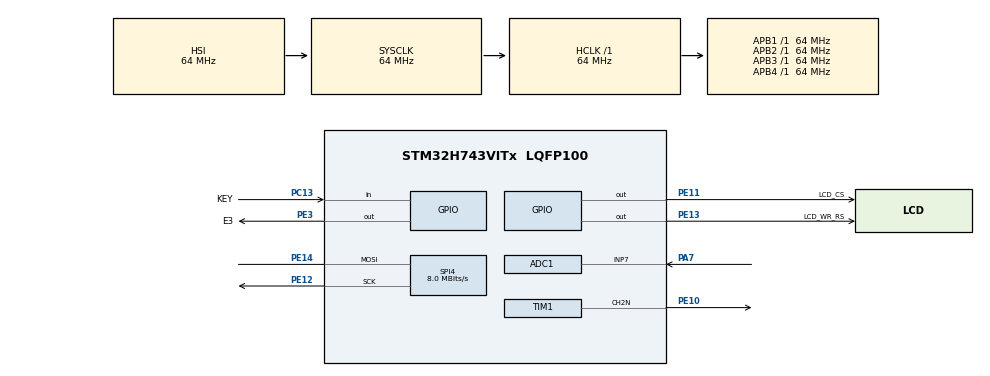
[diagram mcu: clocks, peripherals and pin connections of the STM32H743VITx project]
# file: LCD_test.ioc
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ADC1.Channel-0\#ChannelRegularConversion=ADC_CHANNEL_7
ADC1.NbrOfConversionFlag=1
ADC1.OffsetNumber-0\#ChannelRegularConversion=ADC_OFFSET_NONE
ADC1.OffsetSignedSaturation-0\#ChannelRegularConversion=DISABLE
ADC1.Rank-0\#ChannelRegularConversion=1
ADC1.SamplingTime-0\#ChannelRegularConversion=ADC_SAMPLETIME_1CYCLE_5
ADC1.master=1
Mcu.Family=STM32H7
Mcu.Name=STM32H743VITx
Mcu.Package=LQFP100
NVIC.PriorityGroup=NVIC_PRIORITYGROUP_4
PA13\ (JTMS/SWDIO).Mode=Serial_Wire
PA13\ (JTMS/SWDIO).Signal=DEBUG_JTMS-SWDIO
PA14\ (JTCK/SWCLK).Mode=Serial_Wire
PA14\ (JTCK/SWCLK).Signal=DEBUG_JTCK-SWCLK
PA7.Signal=ADCx_INP7
PC13.GPIO_Label=KEY
PC13.GPIO_PuPd=GPIO_PULLDOWN
PC13.Signal=GPIO_Input
PC14-OSC32_IN\ (OSC32_IN).Mode=LSE-External-Oscillator
PC14-OSC32_IN\ (OSC32_IN).Signal=RCC_OSC32_IN
PC15-OSC32_OUT\ (OSC32_OUT).Mode=LSE-External-Oscillator
PC15-OSC32_OUT\ (OSC32_OUT).Signal=RCC_OSC32_OUT
PE10.Mode=PWM Generation2 CH2N
PE10.Signal=TIM1_CH2N
PE11.GPIO_Label=LCD_CS
PE11.GPIO_Speed=GPIO_SPEED_FREQ_VERY_HIGH
PE11.PinState=GPIO_PIN_SET
PE11.Signal=GPIO_Output
PE12.Mode=Simplex_Bidirectional_Master
PE12.Signal=SPI4_SCK
PE13.GPIO_Label=LCD_WR_RS
PE13.GPIO_Speed=GPIO_SPEED_FREQ_VERY_HIGH
PE13.PinState=GPIO_PIN_SET
PE13.Signal=GPIO_Output
PE14.Mode=Simplex_Bidirectional_Master
PE14.Signal=SPI4_MOSI
PE3.GPIO_Label=E3
PE3.Signal=GPIO_Output
PH0-OSC_IN\ (PH0).Mode=HSE-External-Oscillator
PH0-OSC_IN\ (PH0).Signal=RCC_OSC_IN
PH1-OSC_OUT\ (PH1).Mode=HSE-External-Oscillator
PH1-OSC_OUT\ (PH1).Signal=RCC_OSC_OUT
ProjectManager.HeapSize=0x200
ProjectManager.StackSize=0x400
ProjectManager.TargetToolchain=STM32CubeIDE
RCC.ADCFreq_Value=129000000
RCC.APB1Freq_Value=64000000
RCC.APB2Freq_Value=64000000
RCC.APB3Freq_Value=64000000
RCC.APB4Freq_Value=64000000
RCC.CortexFreq_Value=64000000
RCC.HCLKFreq_Value=64000000
RCC.PLL2_VCI_Range=RCC_PLL2VCIRANGE_3
RCC.SYSCLKFreq_VALUE=64000000
RCC.USBFreq_Value=129000000
SH.ADCx_INP7.0=ADC1_INP7,IN7-Single-Ended
SPI4.BaudRatePrescaler=SPI_BAUDRATEPRESCALER_8
SPI4.CalculateBaudRate=8.0 MBits/s
SPI4.DataSize=SPI_DATASIZE_8BIT
SPI4.Direction=SPI_DIRECTION_1LINE
SPI4.Mode=SPI_MODE_MASTER
SPI4.VirtualType=VM_MASTER
TIM1.Channel-PWM\ Generation2\ CH2N=TIM_CHANNEL_2
TIM1.OCNPolarity_2=TIM_OCNPOLARITY_LOW
TIM1.Period=1000-1
TIM1.Prescaler=12-1
VP_RTC_VS_RTC_Activate.Mode=RTC_Enabled
VP_RTC_VS_RTC_Calendar.Mode=RTC_Calendar
board=custom

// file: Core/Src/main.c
/* USER CODE BEGIN Header */
/**
  ******************************************************************************
  * @file           : main.c
  * @brief          : Main program body
  ******************************************************************************
  * @attention
  *
  * <h2><center>&copy; Copyright (c) 2020 STMicroelectronics.
  * All rights reserved.</center></h2>
  *
  * This software component is licensed by ST under BSD 3-Clause license,
  * the "License"; You may not use this file except in compliance with the
  * License. You may obtain a copy of the License at:
  *                        opensource.org/licenses/BSD-3-Clause
  *
  ******************************************************************************
  */
/* USER CODE END Header */
#include "main.h"
#include "adc.h"
#include "rtc.h"
#include "spi.h"
#include "tim.h"
#include "gpio.h"

/* USER CODE BEGIN Includes */
#include "lcd.h"
#include "test.h"
/* USER CODE END Includes */

void SystemClock_Config(void);

/* USER CODE BEGIN 0 */

static void LED_Blink(uint32_t Hdelay,uint32_t Ldelay)
{
	HAL_GPIO_WritePin(E3_GPIO_Port,E3_Pin,GPIO_PIN_SET);
	HAL_Delay(Hdelay - 1);
	HAL_GPIO_WritePin(E3_GPIO_Port,E3_Pin,GPIO_PIN_RESET);
	HAL_Delay(Ldelay-1);
}

/**
  * @brief  Get the current time and date.
  * @param
  * @retval None
  */
static void RTC_CalendarShow(RTC_DateTypeDef *sdatestructureget,RTC_TimeTypeDef *stimestructureget)
{
  /* ����ͬʱ��ȡʱ������� ��Ȼ�ᵼ���´�RTC���ܶ�ȡ */
  /* Both time and date must be obtained or RTC cannot be read next time */
  /* Get the RTC current Time */
  HAL_RTC_GetTime(&hrtc, stimestructureget, RTC_FORMAT_BIN);
  /* Get the RTC current Date */
  HAL_RTC_GetDate(&hrtc, sdatestructureget, RTC_FORMAT_BIN);
}

/* USER CODE END 0 */

int main(void)
{
  /* USER CODE BEGIN 1 */

  #ifdef W25Qxx
    SCB->VTOR = QSPI_BASE;
  #endif
  MPU_Config();
  CPU_CACHE_Enable();

  /* USER CODE END 1 */

  /* MCU Configuration--------------------------------------------------------*/

  /* Reset of all peripherals, Initializes the Flash interface and the Systick. */
  HAL_Init();

  /* Configure the system clock */
  SystemClock_Config();

  /* Initialize all configured peripherals */
  MX_GPIO_Init();
  MX_SPI4_Init();
  MX_TIM1_Init();
  MX_RTC_Init();
  MX_ADC1_Init();
  /* USER CODE BEGIN 2 */
//	HAL_TIMEx_PWMN_Start(&htim1,TIM_CHANNEL_2);
//	__HAL_TIM_SetCompare(&htim1,TIM_CHANNEL_2,10);
	LCD_Test();
  /* USER CODE END 2 */

  /* Infinite loop */
  /* USER CODE BEGIN WHILE */
	uint8_t text[20];
	RTC_DateTypeDef sdatestructureget;
	RTC_TimeTypeDef stimestructureget;
	uint32_t tick = HAL_GetTick();
  while (1)
  {
    /* USER CODE END WHILE */

    /* USER CODE BEGIN 3 */
		RTC_CalendarShow(&sdatestructureget,&stimestructureget);

		if (stimestructureget.Seconds % 2 == 1)
			sprintf((char *)&text,"Time: %02d:%02d", stimestructureget.Hours, stimestructureget.Minutes);
		else
			sprintf((char *)&text,"Time: %02d %02d", stimestructureget.Hours, stimestructureget.Minutes);
		LCD_ShowString(4, 58, 160, 16, 16, text);

		ST7735_LCD_Driver.SetPixel(&st7735_pObj,100,10,GREEN);

		ST7735_LCD_Driver.FillRect(&st7735_pObj, 0, ST7735Ctx.Height - 3, (50*ST7735Ctx.Width)/ 100, 3, 0xFFFF);

//	  	sprintf((char *)&text,"HELL WORLD!!!");
//	  	LCD_ShowString(0, 0, 160, 16, 16,text);
//		sprintf((char *)&text,"Time %d s",HAL_GetTick()/1000);
//		LCD_ShowString(0, 16, 160, 16, 16,text);

//		LED_Blink(3,1000);

  }
  /* USER CODE END 3 */
}

void SystemClock_Config(void)
{
  RCC_OscInitTypeDef RCC_OscInitStruct = {0};
  RCC_ClkInitTypeDef RCC_ClkInitStruct = {0};

  /** Supply configuration update enable
  */
  HAL_PWREx_ConfigSupply(PWR_LDO_SUPPLY);

  /** Configure the main internal regulator output voltage
  */
  __HAL_PWR_VOLTAGESCALING_CONFIG(PWR_REGULATOR_VOLTAGE_SCALE3);

  while(!__HAL_PWR_GET_FLAG(PWR_FLAG_VOSRDY)) {}

  /** Macro to configure the PLL clock source
  */
  __HAL_RCC_PLL_PLLSOURCE_CONFIG(RCC_PLLSOURCE_HSI);

  /** Initializes the RCC Oscillators according to the specified parameters
  * in the RCC_OscInitTypeDef structure.
  */
  RCC_OscInitStruct.OscillatorType = RCC_OSCILLATORTYPE_HSI|RCC_OSCILLATORTYPE_LSI;
  RCC_OscInitStruct.HSIState = RCC_HSI_DIV1;
  RCC_OscInitStruct.HSICalibrationValue = RCC_HSICALIBRATION_DEFAULT;
  RCC_OscInitStruct.LSIState = RCC_LSI_ON;
  RCC_OscInitStruct.PLL.PLLState = RCC_PLL_NONE;
  RCC_OscInitStruct.PLL.PLLSource = RCC_PLLSOURCE_HSI;
  if (HAL_RCC_OscConfig(&RCC_OscInitStruct) != HAL_OK)
  {
    Error_Handler();
  }

  /** Initializes the CPU, AHB and APB buses clocks
  */
  RCC_ClkInitStruct.ClockType = RCC_CLOCKTYPE_HCLK|RCC_CLOCKTYPE_SYSCLK
                              |RCC_CLOCKTYPE_PCLK1|RCC_CLOCKTYPE_PCLK2
                              |RCC_CLOCKTYPE_D3PCLK1|RCC_CLOCKTYPE_D1PCLK1;
  RCC_ClkInitStruct.SYSCLKSource = RCC_SYSCLKSOURCE_HSI;
  RCC_ClkInitStruct.SYSCLKDivider = RCC_SYSCLK_DIV1;
  RCC_ClkInitStruct.AHBCLKDivider = RCC_HCLK_DIV1;
  RCC_ClkInitStruct.APB3CLKDivider = RCC_APB3_DIV1;
  RCC_ClkInitStruct.APB1CLKDivider = RCC_APB1_DIV1;
  RCC_ClkInitStruct.APB2CLKDivider = RCC_APB2_DIV1;
  RCC_ClkInitStruct.APB4CLKDivider = RCC_APB4_DIV1;

  if (HAL_RCC_ClockConfig(&RCC_ClkInitStruct, FLASH_LATENCY_1) != HAL_OK)
  {
    Error_Handler();
  }
}

void Error_Handler(void)
{
  /* USER CODE BEGIN Error_Handler_Debug */
  /* User can add his own implementation to report the HAL error return state */
  LED_Blink(500,500);
  /* USER CODE END Error_Handler_Debug */
}
